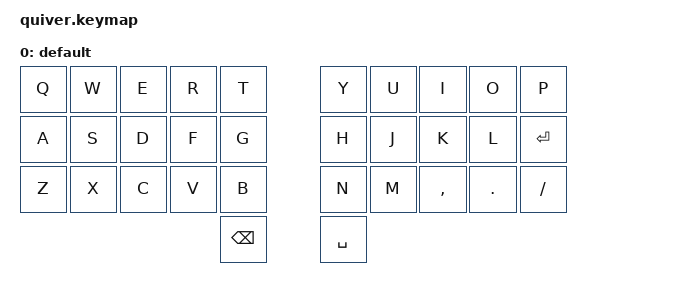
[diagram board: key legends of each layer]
#include <behaviors.dtsi>
#include <dt-bindings/zmk/keys.h>

#define OUTPUT_SOURCE_KEYCODE_STATE_CHANGE 3
#define ALP 0

/ {
    hl_strong_click_1: hl_strong_click_1 {
		compatible = "zmk,output-behavior-generic";
		#binding-cells = <0>;
        device = <&haptic_l>;
        force = <1>;
	};

    hr_strong_click_1: hr_strong_click_1 {
		compatible = "zmk,output-behavior-generic";
		#binding-cells = <0>;
        device = <&haptic_r>;
        force = <1>;
	};

    haptic_key_f: haptic_key_f {
        compatible = "zmk,output-behavior-listener";
        bindings = <&hl_strong_click_1>;
        position = <0x09>;
        layers = <ALP>;
        sources = <OUTPUT_SOURCE_KEYCODE_STATE_CHANGE>;
    };

    haptic_key_j: haptic_key_j {
        compatible = "zmk,output-behavior-listener";
        bindings = <&hr_strong_click_1>;
        position = <0x0D>;
        layers = <ALP>;
        sources = <OUTPUT_SOURCE_KEYCODE_STATE_CHANGE>;
    };
};

/ {
    keymap {
        compatible = "zmk,keymap";

        default {
            bindings = <
                &kp Q   &kp W   &kp E   &kp R   &kp T     &kp Y   &kp U   &kp I      &kp O   &kp P
                &kp A   &kp S   &kp D   &kp F   &kp G     &kp H   &kp J   &kp K      &kp L   &kp ENTER
                &kp Z   &kp X   &kp C   &kp V   &kp B     &kp N   &kp M   &kp COMMA  &kp DOT &kp FSLH
                                                &kp BSPC  &kp SPACE
            >;
        };
    };
};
